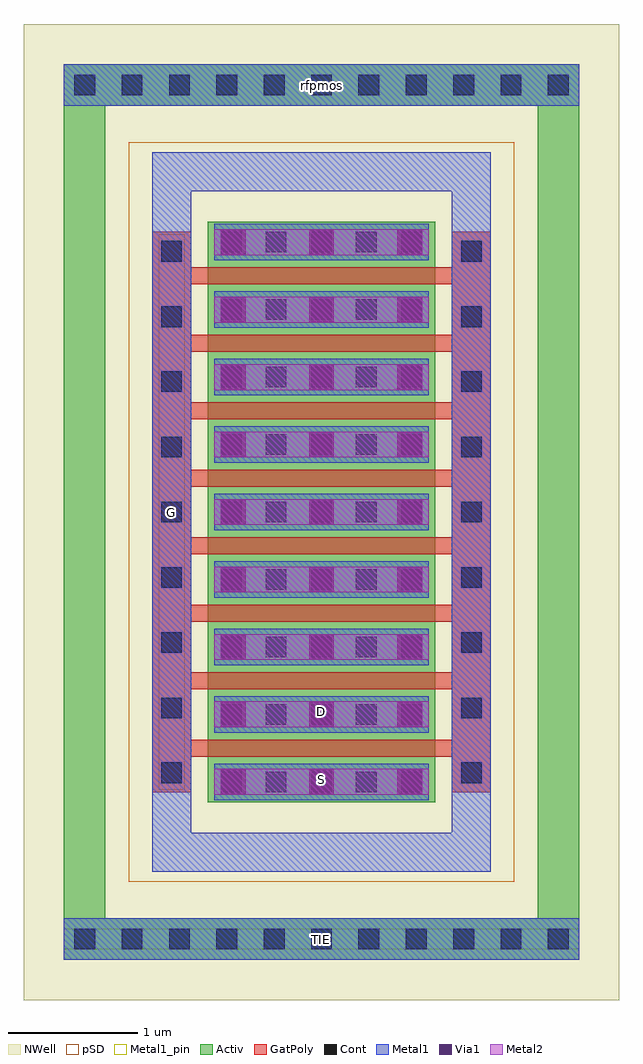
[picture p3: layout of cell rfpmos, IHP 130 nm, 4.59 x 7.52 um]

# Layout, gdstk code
import gdstk
lib = gdstk.Library(unit=1e-6, precision=1e-09)
def R(c, l, rs):  # rectangles x0, y0, x1, y1
    for r in rs: c.add(gdstk.rectangle(r[:2], r[2:], *l))
def A(c, l, x, y, w, h, nx, ny, dx, dy):  # array of equal rectangles
    R(c, l, [(x+i*dx, y+j*dy, x+i*dx+w, y+j*dy+h) for i in range(nx) for j in range(ny)])
def P(c, l, *ps):  # polygons
    for p in ps: c.add(gdstk.Polygon(p, *l))
Activ = (1, 0)
GatPoly = (5, 0)
Cont = (6, 0)
Metal1 = (8, 0)
Metal1_pin = (8, 2)
Metal2 = (10, 0)
pSD = (14, 0)
Via1 = (19, 0)
NWell = (31, 0)

rfpmos = lib.new_cell('rfpmos')
R(rfpmos, Activ, [(1.42,1.525,3.17,5.995)])
P(rfpmos, Activ, [(0.31,0.31),(0.31,6.89),(0.63,6.89),(0.63,0.63),(3.96,0.63),(3.96,6.89),(0.31,6.89),(0.31,7.21),(4.28,7.21),(4.28,0.31)])
A(rfpmos, GatPoly, 1.29, 1.875, 2.01, 0.13, 1, 8, 0, 0.52)
R(rfpmos, GatPoly, [(0.99,1.6,1.29,5.92), (3.3,1.6,3.6,5.92)])
A(rfpmos, Cont, 0.39, 0.39, 0.16, 0.16, 11, 2, 0.365, 6.58)
A(rfpmos, Cont, 1.52, 1.6, 0.16, 0.16, 1, 9, 0, 0.52)
A(rfpmos, Cont, 1.865, 1.6, 0.16, 0.16, 1, 9, 0, 0.52)
A(rfpmos, Cont, 2.215, 1.6, 0.16, 0.16, 1, 9, 0, 0.52)
A(rfpmos, Cont, 2.56, 1.6, 0.16, 0.16, 1, 9, 0, 0.52)
A(rfpmos, Cont, 2.91, 1.6, 0.16, 0.16, 1, 9, 0, 0.52)
R(rfpmos, Cont, [(1.06,1.67,1.22,1.83), (3.37,1.67,3.53,1.83), (1.06,2.17,1.22,2.33), (3.37,2.17,3.53,2.33), (1.06,2.675,1.22,2.835), (3.37,2.675,3.53,2.835), (1.06,3.175,1.22,3.335), (3.37,3.175,3.53,3.335), (1.06,3.68,1.22,3.84), (3.37,3.68,3.53,3.84), (1.06,4.18,1.22,4.34), (3.37,4.18,3.53,4.34), (1.06,4.685,1.22,4.845), (3.37,4.685,3.53,4.845), (1.06,5.185,1.22,5.345), (3.37,5.185,3.53,5.345), (1.06,5.69,1.22,5.85), (3.37,5.69,3.53,5.85)])
A(rfpmos, Metal1, 1.47, 1.54, 1.65, 0.28, 1, 9, 0, 0.52)
R(rfpmos, Metal1, [(0.31,0.31,4.28,0.63), (1.04,1.62,1.24,5.9), (3.35,1.62,3.55,5.9), (0.31,6.89,4.28,7.21)])
P(rfpmos, Metal1, [(0.99,0.99),(0.99,6.23),(1.29,6.23),(1.29,1.29),(3.3,1.29),(3.3,6.23),(0.99,6.23),(0.99,6.53),(3.6,6.53),(3.6,0.99)])
R(rfpmos, Metal1_pin, [(0.31,0.39,4.28,0.55), (0.31,0.39,4.28,0.55), (1.47,1.54,3.12,1.82), (1.47,1.54,3.12,1.82), (1.04,1.62,1.24,5.9), (1.04,1.62,1.24,5.9), (1.47,2.06,3.12,2.34), (1.47,2.06,3.12,2.34)])
A(rfpmos, Metal2, 1.47, 1.58, 1.65, 0.2, 1, 9, 0, 0.52)
R(rfpmos, pSD, [(0.81,0.91,3.78,6.61)])
A(rfpmos, Via1, 1.52, 1.585, 0.19, 0.19, 3, 9, 0.68, 0.52)
R(rfpmos, NWell, [(0,0,4.59,7.52)])
rfpmos.add(gdstk.Label('S', (2.295,1.7), layer=63, texttype=0))
rfpmos.add(gdstk.Label('D', (2.295,2.22), layer=63, texttype=0))
rfpmos.add(gdstk.Label('G', (1.14,3.76), layer=63, texttype=0))
rfpmos.add(gdstk.Label('TIE', (2.295,0.47), layer=63, texttype=0))
rfpmos.add(gdstk.Label('rfpmos', (2.295,7.05), layer=63, texttype=0))

lib.write_gds('rfpmos.gds')
